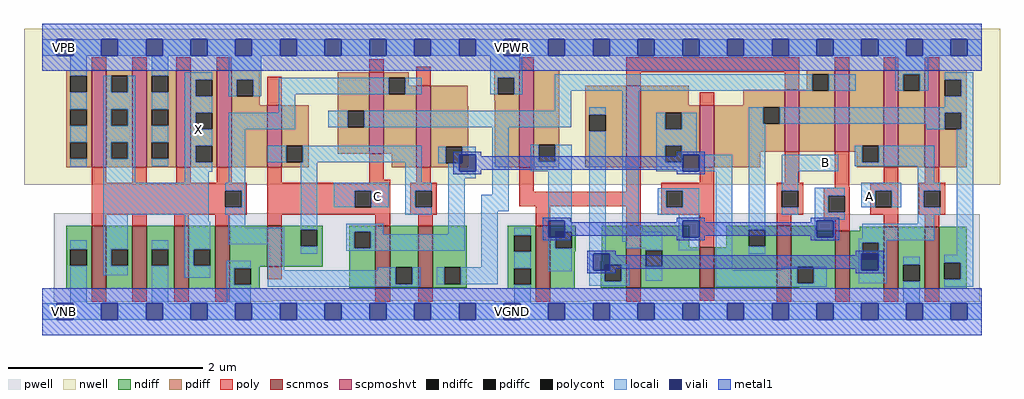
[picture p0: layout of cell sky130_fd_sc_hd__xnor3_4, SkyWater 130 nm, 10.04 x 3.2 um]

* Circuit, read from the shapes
.subckt sky130_fd_sc_hd__xnor3_4 A B C VGND VNB VPB VPWR X
XM1 X n1 VGND VNB sky130_fd_pr__nfet_01v8 w=0.65 l=0.15 m=4
XM2 n2 C VGND VNB sky130_fd_pr__nfet_01v8 w=0.42 l=0.15
XM3 n1 C n3 VNB sky130_fd_pr__nfet_01v8 w=0.64 l=0.15
XM4 n4 n2 n1 VNB sky130_fd_pr__nfet_01v8 w=0.64 l=0.15
XM5 n5 B VGND VNB sky130_fd_pr__nfet_01v8 w=0.65 l=0.15
XM6 n4 B n6 VNB sky130_fd_pr__nfet_01v8 w=0.64 l=0.15
XM7 n7 n5 n4 VNB sky130_fd_pr__nfet_01v8 w=0.42 l=0.15
XM8 n3 B n7 VNB sky130_fd_pr__nfet_01v8 w=0.64 l=0.15
XM9 n6 n5 n3 VNB sky130_fd_pr__nfet_01v8 w=0.6 l=0.15
XM10 VGND A n6 VNB sky130_fd_pr__nfet_01v8 w=0.64 l=0.15
XM11 n7 n6 VGND VNB sky130_fd_pr__nfet_01v8 w=0.64 l=0.15
XM12 X n1 VPWR VPB sky130_fd_pr__pfet_01v8_hvt w=1 l=0.15 m=4
XM13 n2 C VPWR VPB sky130_fd_pr__pfet_01v8_hvt w=0.64 l=0.15
XM14 n1 C n4 VPB sky130_fd_pr__pfet_01v8_hvt w=0.84 l=0.15
XM15 n3 n2 n1 VPB sky130_fd_pr__pfet_01v8_hvt w=0.84 l=0.15
XM16 n5 B VPWR VPB sky130_fd_pr__pfet_01v8_hvt w=1 l=0.15
XM17 n3 B n6 VPB sky130_fd_pr__pfet_01v8_hvt w=0.84 l=0.15
XM18 n7 n5 n3 VPB sky130_fd_pr__pfet_01v8_hvt w=0.64 l=0.15
XM19 n4 B n7 VPB sky130_fd_pr__pfet_01v8_hvt w=0.64 l=0.15
XM20 n6 n5 n4 VPB sky130_fd_pr__pfet_01v8_hvt w=0.84 l=0.15
XM21 VPWR A n6 VPB sky130_fd_pr__pfet_01v8_hvt w=1 l=0.15
XM22 n7 n6 VPWR VPB sky130_fd_pr__pfet_01v8_hvt w=1 l=0.15
.ends

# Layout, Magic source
magic
tech sky130A
magscale 1 2
<< nwell >>
rect -38 261 1970 582
<< pwell >>
rect 23 201 1617 203
rect 23 23 1928 201
rect 23 21 473 23
rect 931 21 1121 23
rect 1532 21 1928 23
rect 29 -17 63 21
<< scnmos >>
rect 101 47 131 177
rect 185 47 215 177
rect 271 47 301 177
rect 355 47 385 177
rect 462 93 492 177
rect 685 49 715 177
rect 773 49 803 177
rect 1015 47 1045 177
rect 1201 49 1231 177
rect 1352 49 1382 133
rect 1511 49 1541 177
rect 1631 47 1661 167
rect 1731 47 1761 175
rect 1815 47 1845 175
<< scpmoshvt >>
rect 101 297 131 497
rect 185 297 215 497
rect 275 297 305 497
rect 359 297 389 497
rect 462 297 492 425
rect 672 325 702 493
rect 769 297 799 465
rect 981 297 1011 497
rect 1201 297 1231 465
rect 1352 297 1382 425
rect 1527 329 1557 457
rect 1630 329 1660 497
rect 1731 297 1761 497
rect 1815 297 1845 497
<< ndiff >>
rect 49 129 101 177
rect 49 95 57 129
rect 91 95 101 129
rect 49 47 101 95
rect 131 129 185 177
rect 131 95 141 129
rect 175 95 185 129
rect 131 47 185 95
rect 215 129 271 177
rect 215 95 225 129
rect 259 95 271 129
rect 215 47 271 95
rect 301 129 355 177
rect 301 95 311 129
rect 345 95 355 129
rect 301 47 355 95
rect 385 93 462 177
rect 492 169 577 177
rect 492 135 531 169
rect 565 135 577 169
rect 492 93 577 135
rect 631 165 685 177
rect 631 131 641 165
rect 675 131 685 165
rect 385 89 447 93
rect 385 55 395 89
rect 429 55 447 89
rect 385 47 447 55
rect 631 49 685 131
rect 715 91 773 177
rect 715 57 727 91
rect 761 57 773 91
rect 715 49 773 57
rect 803 91 873 177
rect 803 57 827 91
rect 861 57 873 91
rect 803 49 873 57
rect 957 157 1015 177
rect 957 123 971 157
rect 1005 123 1015 157
rect 957 89 1015 123
rect 957 55 971 89
rect 1005 55 1015 89
rect 957 47 1015 55
rect 1045 165 1097 177
rect 1045 131 1055 165
rect 1089 131 1097 165
rect 1045 124 1097 131
rect 1045 47 1095 124
rect 1151 104 1201 177
rect 1149 97 1201 104
rect 1149 63 1157 97
rect 1191 63 1201 97
rect 1149 49 1201 63
rect 1231 133 1331 177
rect 1407 169 1511 177
rect 1407 135 1453 169
rect 1487 135 1511 169
rect 1407 133 1511 135
rect 1231 126 1352 133
rect 1231 92 1241 126
rect 1275 92 1352 126
rect 1231 49 1352 92
rect 1382 49 1511 133
rect 1541 167 1591 177
rect 1681 167 1731 175
rect 1541 93 1631 167
rect 1541 59 1553 93
rect 1587 59 1631 93
rect 1541 49 1631 59
rect 1558 47 1631 49
rect 1661 142 1731 167
rect 1661 108 1687 142
rect 1721 108 1731 142
rect 1661 47 1731 108
rect 1761 97 1815 175
rect 1761 63 1771 97
rect 1805 63 1815 97
rect 1761 47 1815 63
rect 1845 101 1902 175
rect 1845 67 1855 101
rect 1889 67 1902 101
rect 1845 47 1902 67
<< pdiff >>
rect 49 485 101 497
rect 49 451 57 485
rect 91 451 101 485
rect 49 417 101 451
rect 49 383 57 417
rect 91 383 101 417
rect 49 349 101 383
rect 49 315 57 349
rect 91 315 101 349
rect 49 297 101 315
rect 131 485 185 497
rect 131 451 141 485
rect 175 451 185 485
rect 131 417 185 451
rect 131 383 141 417
rect 175 383 185 417
rect 131 349 185 383
rect 131 315 141 349
rect 175 315 185 349
rect 131 297 185 315
rect 215 485 275 497
rect 215 451 225 485
rect 259 451 275 485
rect 215 417 275 451
rect 215 383 225 417
rect 259 383 275 417
rect 215 349 275 383
rect 215 315 225 349
rect 259 315 275 349
rect 215 297 275 315
rect 305 477 359 497
rect 305 443 315 477
rect 349 443 359 477
rect 305 409 359 443
rect 305 375 315 409
rect 349 375 359 409
rect 305 341 359 375
rect 305 307 315 341
rect 349 307 359 341
rect 305 297 359 307
rect 389 477 447 497
rect 389 443 400 477
rect 434 443 447 477
rect 389 425 447 443
rect 389 297 462 425
rect 492 341 548 425
rect 492 307 502 341
rect 536 307 548 341
rect 607 413 672 493
rect 607 379 628 413
rect 662 379 672 413
rect 607 325 672 379
rect 702 481 754 493
rect 702 447 712 481
rect 746 465 754 481
rect 929 481 981 497
rect 746 447 769 465
rect 702 325 769 447
rect 492 297 548 307
rect 719 297 769 325
rect 799 423 875 465
rect 929 447 937 481
rect 971 447 981 481
rect 929 435 981 447
rect 799 339 876 423
rect 799 305 830 339
rect 864 305 876 339
rect 799 297 876 305
rect 930 297 981 435
rect 1011 343 1063 497
rect 1011 309 1021 343
rect 1055 309 1063 343
rect 1011 297 1063 309
rect 1117 405 1201 465
rect 1117 371 1125 405
rect 1159 371 1201 405
rect 1117 297 1201 371
rect 1231 425 1330 465
rect 1572 489 1630 497
rect 1572 457 1584 489
rect 1442 425 1527 457
rect 1231 409 1352 425
rect 1231 375 1281 409
rect 1315 375 1352 409
rect 1231 341 1352 375
rect 1231 307 1281 341
rect 1315 307 1352 341
rect 1231 297 1352 307
rect 1382 421 1527 425
rect 1382 387 1483 421
rect 1517 387 1527 421
rect 1382 329 1527 387
rect 1557 455 1584 457
rect 1618 455 1630 489
rect 1557 329 1630 455
rect 1660 341 1731 497
rect 1660 329 1687 341
rect 1382 297 1477 329
rect 1675 307 1687 329
rect 1721 307 1731 341
rect 1675 297 1731 307
rect 1761 489 1815 497
rect 1761 455 1771 489
rect 1805 455 1815 489
rect 1761 297 1815 455
rect 1845 477 1902 497
rect 1845 443 1856 477
rect 1890 443 1902 477
rect 1845 409 1902 443
rect 1845 375 1856 409
rect 1890 375 1902 409
rect 1845 297 1902 375
<< ndiffc >>
rect 57 95 91 129
rect 141 95 175 129
rect 225 95 259 129
rect 311 95 345 129
rect 531 135 565 169
rect 641 131 675 165
rect 395 55 429 89
rect 727 57 761 91
rect 827 57 861 91
rect 971 123 1005 157
rect 971 55 1005 89
rect 1055 131 1089 165
rect 1157 63 1191 97
rect 1453 135 1487 169
rect 1241 92 1275 126
rect 1553 59 1587 93
rect 1687 108 1721 142
rect 1771 63 1805 97
rect 1855 67 1889 101
<< pdiffc >>
rect 57 451 91 485
rect 57 383 91 417
rect 57 315 91 349
rect 141 451 175 485
rect 141 383 175 417
rect 141 315 175 349
rect 225 451 259 485
rect 225 383 259 417
rect 225 315 259 349
rect 315 443 349 477
rect 315 375 349 409
rect 315 307 349 341
rect 400 443 434 477
rect 502 307 536 341
rect 628 379 662 413
rect 712 447 746 481
rect 937 447 971 481
rect 830 305 864 339
rect 1021 309 1055 343
rect 1125 371 1159 405
rect 1281 375 1315 409
rect 1281 307 1315 341
rect 1483 387 1517 421
rect 1584 455 1618 489
rect 1687 307 1721 341
rect 1771 455 1805 489
rect 1856 443 1890 477
rect 1856 375 1890 409
<< poly >>
rect 101 497 131 523
rect 185 497 215 523
rect 275 497 305 523
rect 359 497 389 523
rect 672 493 702 519
rect 462 425 492 483
rect 769 465 799 504
rect 981 497 1011 523
rect 101 265 131 297
rect 185 265 215 297
rect 275 265 305 297
rect 359 265 389 297
rect 462 265 492 297
rect 672 271 702 325
rect 1201 493 1557 523
rect 1630 497 1660 523
rect 1731 497 1761 523
rect 1815 497 1845 523
rect 1201 465 1231 493
rect 1527 457 1557 493
rect 1352 425 1382 451
rect 672 265 715 271
rect 769 265 799 297
rect 101 249 420 265
rect 101 215 376 249
rect 410 215 420 249
rect 101 199 420 215
rect 462 249 715 265
rect 462 215 642 249
rect 676 215 715 249
rect 462 199 715 215
rect 757 249 811 265
rect 757 215 767 249
rect 801 215 811 249
rect 981 247 1011 297
rect 1201 247 1231 297
rect 1352 265 1382 297
rect 1527 265 1557 329
rect 981 217 1231 247
rect 757 199 811 215
rect 101 177 131 199
rect 185 177 215 199
rect 271 177 301 199
rect 355 177 385 199
rect 462 177 492 199
rect 685 177 715 199
rect 773 177 803 199
rect 1015 177 1045 217
rect 1201 177 1231 217
rect 1273 249 1382 265
rect 1273 215 1283 249
rect 1317 215 1382 249
rect 1273 199 1382 215
rect 462 67 492 93
rect 101 21 131 47
rect 185 21 215 47
rect 271 21 301 47
rect 355 21 385 47
rect 685 21 715 49
rect 773 21 803 49
rect 1352 133 1382 199
rect 1511 249 1565 265
rect 1630 256 1660 329
rect 1731 265 1761 297
rect 1815 265 1845 297
rect 1630 255 1661 256
rect 1511 215 1521 249
rect 1555 215 1565 249
rect 1511 199 1565 215
rect 1607 239 1661 255
rect 1607 205 1617 239
rect 1651 205 1661 239
rect 1511 177 1541 199
rect 1607 189 1661 205
rect 1703 249 1761 265
rect 1703 215 1713 249
rect 1747 215 1761 249
rect 1703 199 1761 215
rect 1803 249 1857 265
rect 1803 215 1813 249
rect 1847 215 1857 249
rect 1803 199 1857 215
rect 1631 167 1661 189
rect 1731 175 1761 199
rect 1815 175 1845 199
rect 1015 21 1045 47
rect 1201 21 1231 49
rect 1352 23 1382 49
rect 1511 21 1541 49
rect 1631 21 1661 47
rect 1731 21 1761 47
rect 1815 21 1845 47
<< polycont >>
rect 376 215 410 249
rect 642 215 676 249
rect 767 215 801 249
rect 1283 215 1317 249
rect 1521 215 1555 249
rect 1617 205 1651 239
rect 1713 215 1747 249
rect 1813 215 1847 249
<< locali >>
rect 0 527 29 561
rect 63 527 121 561
rect 155 527 213 561
rect 247 527 305 561
rect 339 527 397 561
rect 431 527 489 561
rect 523 527 581 561
rect 615 527 673 561
rect 707 527 765 561
rect 799 527 857 561
rect 891 527 949 561
rect 983 527 1041 561
rect 1075 527 1133 561
rect 1167 527 1225 561
rect 1259 527 1317 561
rect 1351 527 1409 561
rect 1443 527 1501 561
rect 1535 527 1593 561
rect 1627 527 1685 561
rect 1719 527 1777 561
rect 1811 527 1869 561
rect 1903 527 1932 561
rect 57 485 91 527
rect 225 485 259 527
rect 57 417 91 451
rect 57 349 91 383
rect 57 298 91 315
rect 125 451 141 485
rect 175 451 191 485
rect 125 417 191 451
rect 125 383 141 417
rect 175 383 191 417
rect 125 349 191 383
rect 125 315 141 349
rect 175 315 191 349
rect 125 265 191 315
rect 225 417 259 451
rect 225 349 259 383
rect 225 299 259 315
rect 293 477 349 493
rect 293 443 315 477
rect 383 477 450 527
rect 921 481 987 527
rect 1755 489 1822 527
rect 383 443 400 477
rect 434 443 450 477
rect 486 447 712 481
rect 746 447 780 481
rect 921 447 937 481
rect 971 447 987 481
rect 1054 455 1584 489
rect 1618 455 1673 489
rect 1755 455 1771 489
rect 1805 455 1822 489
rect 1856 477 1915 493
rect 293 409 349 443
rect 486 409 520 447
rect 1054 413 1088 455
rect 293 375 315 409
rect 293 341 349 375
rect 293 307 315 341
rect 293 288 349 307
rect 383 375 520 409
rect 588 379 628 413
rect 662 379 1088 413
rect 1125 405 1159 421
rect 293 265 342 288
rect 383 265 417 375
rect 463 307 502 341
rect 536 307 780 341
rect 125 199 342 265
rect 376 249 417 265
rect 410 215 417 249
rect 376 199 417 215
rect 57 129 91 147
rect 57 17 91 95
rect 125 129 175 199
rect 293 185 342 199
rect 125 95 141 129
rect 125 75 175 95
rect 225 129 259 147
rect 225 17 259 95
rect 293 129 345 185
rect 382 173 417 199
rect 382 139 497 173
rect 293 95 311 129
rect 293 70 345 95
rect 379 89 429 105
rect 379 55 395 89
rect 379 17 429 55
rect 463 85 497 139
rect 531 169 565 307
rect 746 265 780 307
rect 814 305 830 339
rect 864 323 891 339
rect 835 289 857 305
rect 835 275 891 289
rect 599 249 712 265
rect 599 215 642 249
rect 676 215 712 249
rect 746 249 801 265
rect 746 215 767 249
rect 746 199 801 215
rect 531 119 565 135
rect 625 165 701 181
rect 625 131 641 165
rect 675 159 701 165
rect 835 159 869 275
rect 925 241 959 379
rect 1005 309 1021 343
rect 1055 309 1089 343
rect 1005 289 1089 309
rect 675 131 869 159
rect 625 125 869 131
rect 903 207 959 241
rect 903 91 937 207
rect 1041 187 1089 289
rect 690 85 727 91
rect 463 57 727 85
rect 761 57 777 91
rect 811 57 827 91
rect 861 57 937 91
rect 971 157 1005 173
rect 971 89 1005 123
rect 463 51 777 57
rect 1075 165 1089 187
rect 1041 131 1055 153
rect 1041 83 1089 131
rect 1125 119 1159 371
rect 1193 178 1227 455
rect 1890 443 1915 477
rect 1856 421 1915 443
rect 1263 375 1281 409
rect 1315 375 1346 409
rect 1263 341 1346 375
rect 1263 307 1281 341
rect 1315 323 1346 341
rect 1453 387 1483 421
rect 1517 409 1915 421
rect 1517 387 1856 409
rect 1315 307 1317 323
rect 1263 289 1317 307
rect 1351 289 1419 323
rect 1266 249 1351 254
rect 1266 215 1283 249
rect 1317 215 1351 249
rect 1266 199 1351 215
rect 1309 187 1351 199
rect 1193 165 1235 178
rect 1193 144 1275 165
rect 1201 131 1275 144
rect 1241 126 1275 131
rect 1309 153 1317 187
rect 1309 126 1351 153
rect 1125 85 1133 119
rect 971 17 1005 55
rect 1125 63 1157 85
rect 1191 63 1207 97
rect 1241 64 1275 92
rect 1385 85 1419 289
rect 1453 169 1487 387
rect 1818 375 1856 387
rect 1890 375 1915 409
rect 1521 289 1637 323
rect 1671 307 1687 341
rect 1721 307 1835 341
rect 1671 299 1835 307
rect 1521 249 1555 289
rect 1801 265 1835 299
rect 1521 199 1555 215
rect 1589 239 1651 255
rect 1589 205 1617 239
rect 1685 249 1767 265
rect 1685 215 1713 249
rect 1747 215 1767 249
rect 1801 249 1847 265
rect 1801 215 1813 249
rect 1589 189 1651 205
rect 1801 199 1847 215
rect 1589 187 1630 189
rect 1589 153 1593 187
rect 1627 153 1630 187
rect 1801 181 1835 199
rect 1589 146 1630 153
rect 1687 150 1835 181
rect 1679 147 1835 150
rect 1453 119 1487 135
rect 1679 142 1737 147
rect 1679 119 1687 142
rect 1521 85 1553 93
rect 1125 53 1207 63
rect 1385 59 1553 85
rect 1587 59 1614 93
rect 1679 85 1685 119
rect 1721 108 1737 142
rect 1881 117 1915 375
rect 1719 85 1737 108
rect 1679 59 1737 85
rect 1771 97 1805 113
rect 1385 51 1614 59
rect 1771 17 1805 63
rect 1855 101 1915 117
rect 1889 67 1915 101
rect 1855 51 1915 67
rect 0 -17 29 17
rect 63 -17 121 17
rect 155 -17 213 17
rect 247 -17 305 17
rect 339 -17 397 17
rect 431 -17 489 17
rect 523 -17 581 17
rect 615 -17 673 17
rect 707 -17 765 17
rect 799 -17 857 17
rect 891 -17 949 17
rect 983 -17 1041 17
rect 1075 -17 1133 17
rect 1167 -17 1225 17
rect 1259 -17 1317 17
rect 1351 -17 1409 17
rect 1443 -17 1501 17
rect 1535 -17 1593 17
rect 1627 -17 1685 17
rect 1719 -17 1777 17
rect 1811 -17 1869 17
rect 1903 -17 1932 17
<< viali >>
rect 29 527 63 561
rect 121 527 155 561
rect 213 527 247 561
rect 305 527 339 561
rect 397 527 431 561
rect 489 527 523 561
rect 581 527 615 561
rect 673 527 707 561
rect 765 527 799 561
rect 857 527 891 561
rect 949 527 983 561
rect 1041 527 1075 561
rect 1133 527 1167 561
rect 1225 527 1259 561
rect 1317 527 1351 561
rect 1409 527 1443 561
rect 1501 527 1535 561
rect 1593 527 1627 561
rect 1685 527 1719 561
rect 1777 527 1811 561
rect 1869 527 1903 561
rect 857 305 864 323
rect 864 305 891 323
rect 857 289 891 305
rect 1041 165 1075 187
rect 1041 153 1055 165
rect 1055 153 1075 165
rect 1317 289 1351 323
rect 1317 153 1351 187
rect 1133 97 1167 119
rect 1133 85 1157 97
rect 1157 85 1167 97
rect 1593 153 1627 187
rect 1685 108 1687 119
rect 1687 108 1719 119
rect 1685 85 1719 108
rect 29 -17 63 17
rect 121 -17 155 17
rect 213 -17 247 17
rect 305 -17 339 17
rect 397 -17 431 17
rect 489 -17 523 17
rect 581 -17 615 17
rect 673 -17 707 17
rect 765 -17 799 17
rect 857 -17 891 17
rect 949 -17 983 17
rect 1041 -17 1075 17
rect 1133 -17 1167 17
rect 1225 -17 1259 17
rect 1317 -17 1351 17
rect 1409 -17 1443 17
rect 1501 -17 1535 17
rect 1593 -17 1627 17
rect 1685 -17 1719 17
rect 1777 -17 1811 17
rect 1869 -17 1903 17
<< metal1 >>
rect 0 561 1932 592
rect 0 527 29 561
rect 63 527 121 561
rect 155 527 213 561
rect 247 527 305 561
rect 339 527 397 561
rect 431 527 489 561
rect 523 527 581 561
rect 615 527 673 561
rect 707 527 765 561
rect 799 527 857 561
rect 891 527 949 561
rect 983 527 1041 561
rect 1075 527 1133 561
rect 1167 527 1225 561
rect 1259 527 1317 561
rect 1351 527 1409 561
rect 1443 527 1501 561
rect 1535 527 1593 561
rect 1627 527 1685 561
rect 1719 527 1777 561
rect 1811 527 1869 561
rect 1903 527 1932 561
rect 0 496 1932 527
rect 845 323 903 329
rect 845 289 857 323
rect 891 320 903 323
rect 1305 323 1363 329
rect 1305 320 1317 323
rect 891 292 1317 320
rect 891 289 903 292
rect 845 283 903 289
rect 1305 289 1317 292
rect 1351 289 1363 323
rect 1305 283 1363 289
rect 1029 187 1087 193
rect 1029 153 1041 187
rect 1075 184 1087 187
rect 1305 187 1363 193
rect 1305 184 1317 187
rect 1075 156 1317 184
rect 1075 153 1087 156
rect 1029 147 1087 153
rect 1305 153 1317 156
rect 1351 184 1363 187
rect 1581 187 1639 193
rect 1581 184 1593 187
rect 1351 156 1593 184
rect 1351 153 1363 156
rect 1305 147 1363 153
rect 1581 153 1593 156
rect 1627 153 1639 187
rect 1581 147 1639 153
rect 1121 119 1179 125
rect 1121 85 1133 119
rect 1167 116 1179 119
rect 1673 119 1731 125
rect 1673 116 1685 119
rect 1167 88 1685 116
rect 1167 85 1179 88
rect 1121 79 1179 85
rect 1673 85 1685 88
rect 1719 85 1731 119
rect 1673 79 1731 85
rect 0 17 1932 48
rect 0 -17 29 17
rect 63 -17 121 17
rect 155 -17 213 17
rect 247 -17 305 17
rect 339 -17 397 17
rect 431 -17 489 17
rect 523 -17 581 17
rect 615 -17 673 17
rect 707 -17 765 17
rect 799 -17 857 17
rect 891 -17 949 17
rect 983 -17 1041 17
rect 1075 -17 1133 17
rect 1167 -17 1225 17
rect 1259 -17 1317 17
rect 1351 -17 1409 17
rect 1443 -17 1501 17
rect 1535 -17 1593 17
rect 1627 -17 1685 17
rect 1719 -17 1777 17
rect 1811 -17 1869 17
rect 1903 -17 1932 17
rect 0 -48 1932 -17
<< labels >>
flabel locali s 305 357 339 391 0 FreeSans 340 0 0 0 X
port 8 nsew signal output
flabel locali s 1593 289 1627 323 0 FreeSans 340 0 0 0 B
port 2 nsew signal input
flabel locali s 673 221 707 255 0 FreeSans 340 0 0 0 C
port 3 nsew signal input
flabel locali s 1685 221 1719 255 0 FreeSans 340 0 0 0 A
port 1 nsew signal input
flabel pwell s 29 -17 63 17 0 FreeSans 200 0 0 0 VNB
port 5 nsew ground bidirectional
flabel nwell s 29 527 63 561 0 FreeSans 200 0 0 0 VPB
port 6 nsew power bidirectional
flabel metal1 s 29 -17 63 17 0 FreeSans 200 0 0 0 VGND
port 4 nsew ground bidirectional abutment
flabel metal1 s 29 527 63 561 0 FreeSans 200 0 0 0 VPWR
port 7 nsew power bidirectional abutment
rlabel comment s 0 0 0 0 4 hkscl5hdv1_xnor3_1
flabel comment s 0 544 0 544 3 FreeSans 200 0 0 0 HHNEC
rlabel metal1 s 0 -48 1932 48 1 VGND
port 4 nsew ground bidirectional abutment
rlabel metal1 s 0 496 1932 592 1 VPWR
port 7 nsew power bidirectional abutment
<< properties >>
string FIXED_BBOX 0 0 1932 544
string GDS_END 580264
string GDS_FILE $PDKPATH/libs.ref/sky130_fd_sc_hd/gds/sky130_fd_sc_hd.gds
string GDS_START 567078
string LEFclass CORE
string LEFsite unithd
string LEFsymmetry X Y R90
string path 0.000 0.000 9.660 0.000 
<< end >>
